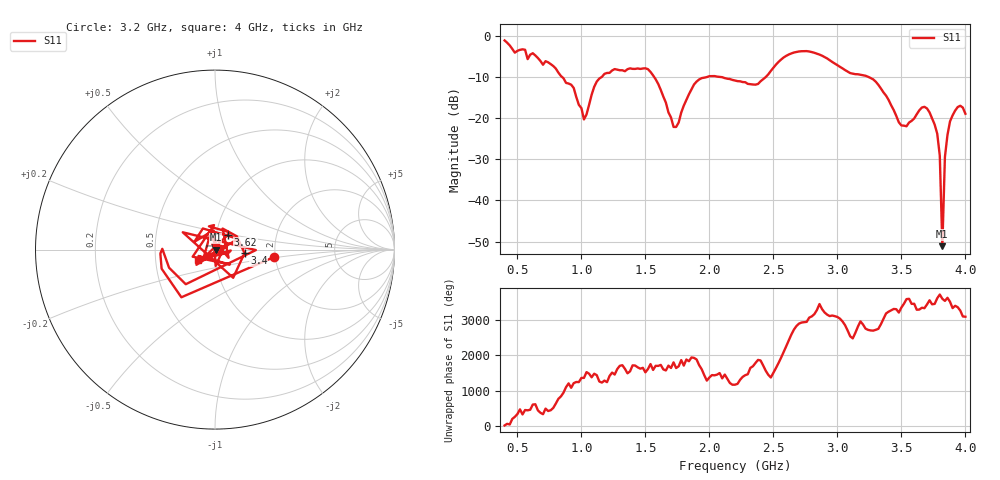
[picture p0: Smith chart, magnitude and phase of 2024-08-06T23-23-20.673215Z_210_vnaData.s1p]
!Created with skrf (http://scikit-rf.org).
# Hz S RI R 50.0
!freq ReS11 ImS11
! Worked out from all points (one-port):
!   181 points, 400 MHz to 4 GHz, reference 50 ohm
!   lowest |S11| = -51.1 dB at 3.82 GHz (marker M1), VSWR 1.01, Z = 50.3 - j0.0148 ohm
!   |S11| at or under -10 dB: 1.567 GHz to 1.987 GHz (420 MHz wide, 23.6 % of centre); 2.07 GHz to 2.443 GHz (372.2 MHz wide, 16.5 % of centre); 3.239 GHz to end of sweep (the widest 3 of 4)
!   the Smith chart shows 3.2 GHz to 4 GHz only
!   S11 on the Smith chart (normalised r, x): 3.2 GHz: 1.96, -0.19; 3.4 GHz: 1.39, -0.06; 3.62 GHz: 1.14, +0.19; 4 GHz: 0.82, -0.10
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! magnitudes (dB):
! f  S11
! 400 MHz  -1.2
! 860 MHz  -10.4
! 940 MHz  -12.7
! 1.02 GHz  -20.3
! 1.12 GHz  -11.2
! 1.3 GHz  -8.4
! 1.52 GHz  -8.2
! 1.6 GHz  -11.7
! 1.72 GHz  -22.2
! 1.76 GHz  -21.1
! 1.92 GHz  -10.7
! 2.2 GHz  -10.9
! 2.38 GHz  -11.7
! 2.66 GHz  -4.1
! 3.1 GHz  -9.1
! 3.2 GHz  -9.6
! 3.4 GHz  -15.6
! 3.5 GHz  -21.8
! 3.56 GHz  -21.1
! 3.62 GHz  -19.1
! 3.7 GHz  -17.7
! 3.78 GHz  -23.8
! 3.8 GHz  -29.2
! 3.82 GHz  -51.1
! 3.84 GHz  -29.5
! 3.86 GHz  -24.1
! 3.94 GHz  -17.3
! 4 GHz  -19.0
